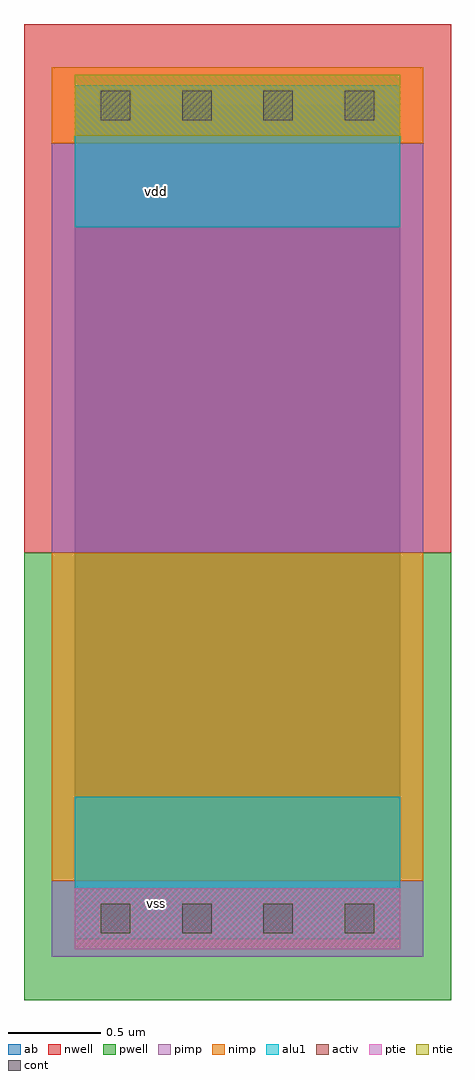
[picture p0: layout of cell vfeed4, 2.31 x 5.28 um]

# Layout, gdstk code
import gdstk
lib = gdstk.Library(unit=1e-6, precision=2.5e-09)
def R(c, l, rs):  # rectangles x0, y0, x1, y1
    for r in rs: c.add(gdstk.rectangle(r[:2], r[2:], *l))
def A(c, l, x, y, w, h, nx, ny, dx, dy):  # array of equal rectangles
    R(c, l, [(x+i*dx, y+j*dy, x+i*dx+w, y+j*dy+h) for i in range(nx) for j in range(ny)])
ntie = (5, 0)
ptie = (6, 0)
cont = (25, 0)
pwell = (41, 0)
nwell = (42, 0)
activ = (43, 0)
pimp = (44, 0)
nimp = (45, 0)
alu1 = (49, 0)
ab = (63, 0)

vfeed4 = lib.new_cell('vfeed4')
R(vfeed4, ntie, [(0,4.235,1.76,4.565)])
R(vfeed4, ptie, [(0,-0.165,1.76,0.165)])
A(vfeed4, cont, 0.14, -0.08, 0.16, 0.16, 4, 2, 0.44, 4.4)
R(vfeed4, pwell, [(-0.275,-0.44,2.035,1.98)])
R(vfeed4, nwell, [(-0.275,1.98,2.035,4.84)])
R(vfeed4, activ, [(0,-0.165,1.76,0.165), (0,4.235,1.76,4.565)])
R(vfeed4, pimp, [(-0.125,-0.205,1.885,0.205), (-0.125,1.98,1.885,4.195)])
R(vfeed4, nimp, [(-0.125,0.205,1.885,1.98), (-0.125,4.195,1.885,4.605)])
R(vfeed4, alu1, [(0,-0.11,1.76,0.66), (0,3.74,1.76,4.51)])
R(vfeed4, ab, [(0,0,1.76,4.4)])
vfeed4.add(gdstk.Label('vss', (0.44,0.0825), layer=49, texttype=0))
vfeed4.add(gdstk.Label('vdd', (0.44,3.9325), layer=49, texttype=0))

lib.write_gds('vfeed4.gds')
